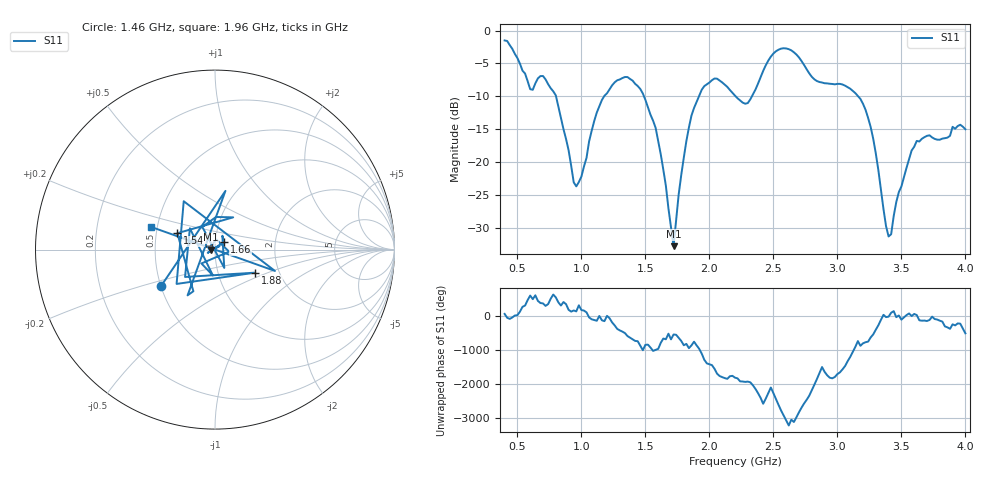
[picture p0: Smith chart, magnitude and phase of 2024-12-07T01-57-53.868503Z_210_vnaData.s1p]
!Created with skrf (http://scikit-rf.org).
# Hz S RI R 50.0
!freq ReS11 ImS11
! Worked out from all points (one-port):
!   181 points, 400 MHz to 4 GHz, reference 50 ohm
!   lowest |S11| = -32.8 dB at 1.72 GHz (marker M1), VSWR 1.05, Z = 47.8 - j0.0385 ohm
!   |S11| at or under -10 dB: 801.8 MHz to 1.177 GHz (375.5 MHz wide, 38 % of centre); 1.489 GHz to 1.917 GHz (428.5 MHz wide, 25.2 % of centre); 3.162 GHz to end of sweep (the widest 3 of 4)
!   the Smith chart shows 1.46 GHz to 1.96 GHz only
!   S11 on the Smith chart (normalised r, x): 1.46 GHz: 0.50, -0.23; 1.54 GHz: 0.64, +0.12; 1.66 GHz: 1.10, +0.09; 1.88 GHz: 1.51, -0.41; 1.96 GHz: 0.46, +0.14
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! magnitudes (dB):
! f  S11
! 400 MHz  -1.5
! 600 MHz  -8.9
! 720 MHz  -7.4
! 800 MHz  -9.8
! 860 MHz  -15.0
! 960 MHz  -23.7
! 1.14 GHz  -11.5
! 1.3 GHz  -7.4
! 1.46 GHz  -8.9
! 1.54 GHz  -12.8
! 1.58 GHz  -14.8
! 1.66 GHz  -23.6
! 1.72 GHz  -32.8
! 1.76 GHz  -24.9
! 1.88 GHz  -11.8
! 1.96 GHz  -8.4
! 2.06 GHz  -7.3
! 2.2 GHz  -9.9
! 2.3 GHz  -11.0
! 2.5 GHz  -3.5
! 2.66 GHz  -3.3
! 2.84 GHz  -7.7
! 3.1 GHz  -8.8
! 3.26 GHz  -14.7
! 3.4 GHz  -31.3
! 3.56 GHz  -19.6
! 3.62 GHz  -16.8
! 4 GHz  -15.0
